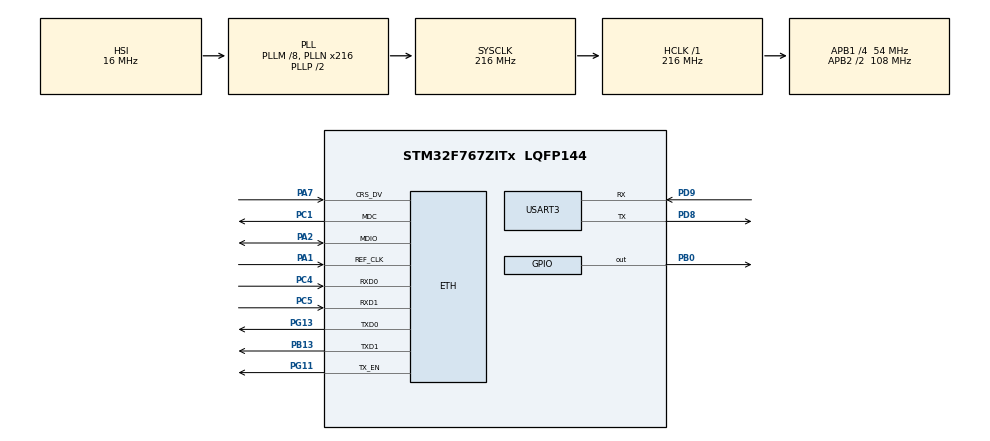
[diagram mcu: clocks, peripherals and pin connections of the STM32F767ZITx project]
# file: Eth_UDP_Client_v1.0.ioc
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CORTEX_M7.CPU_DCache=Disabled
CORTEX_M7.CPU_ICache=Disabled
CORTEX_M7.MPU_Control=__NULL
CORTEX_M7.PREFETCH_ENABLE=0
ETH.MACAddr=00\:80\:E1\:00\:00\:01
ETH.MediaInterface=HAL_ETH_RMII_MODE
ETH.PhyAddress=0
FREERTOS.INCLUDE_vTaskDelayUntil=1
FREERTOS.Tasks01=defaultTask,0,128,StartDefaultTask,Default,NULL,Dynamic,NULL,NULL
FREERTOS.configMAX_TASK_NAME_LEN=31
FREERTOS.configUSE_IDLE_HOOK=1
FREERTOS.configUSE_TIMERS=1
LWIP.GATEWAY_ADDRESS=169.254.081.001
LWIP.IP_ADDRESS=169.254.081.206
LWIP.LWIP_DHCP=0
LWIP.LWIP_ICMP=1
LWIP.LWIP_TCP=0
LWIP.LWIP_UDP=1
LWIP.MEM_SIZE=10*1024
LWIP.NETMASK_ADDRESS=255.255.255.000
LWIP.Version=v2.1.2_Cube
Mcu.Family=STM32F7
Mcu.Name=STM32F767ZITx
Mcu.Package=LQFP144
NVIC.ETH_IRQn=true\:5\:0\:true\:false\:true\:false\:true\:true\:true
NVIC.ETH_WKUP_IRQn=true\:5\:0\:true\:false\:true\:false\:true\:true\:true
NVIC.PriorityGroup=NVIC_PRIORITYGROUP_4
NVIC.TIM1_UP_TIM10_IRQn=true\:0\:0\:false\:false\:true\:false\:false\:true\:true
NVIC.TimeBase=TIM1_UP_TIM10_IRQn
NVIC.TimeBaseIP=TIM10
PA1.Mode=RMII
PA1.Signal=ETH_REF_CLK
PA13.Mode=Serial_Wire
PA13.Signal=SYS_JTMS-SWDIO
PA14.Mode=Serial_Wire
PA14.Signal=SYS_JTCK-SWCLK
PA2.Mode=RMII
PA2.Signal=ETH_MDIO
PA7.Mode=RMII
PA7.Signal=ETH_CRS_DV
PB0.Signal=GPIO_Output
PB13.Mode=RMII
PB13.Signal=ETH_TXD1
PC1.Mode=RMII
PC1.Signal=ETH_MDC
PC4.Mode=RMII
PC4.Signal=ETH_RXD0
PC5.Mode=RMII
PC5.Signal=ETH_RXD1
PD8.Mode=Asynchronous
PD8.Signal=USART3_TX
PD9.Mode=Asynchronous
PD9.Signal=USART3_RX
PG11.Mode=RMII
PG11.Signal=ETH_TX_EN
PG13.Mode=RMII
PG13.Signal=ETH_TXD0
ProjectManager.HeapSize=0x200
ProjectManager.StackSize=0x400
ProjectManager.TargetToolchain=CMake
RCC.48MHZClocksFreq_Value=24000000
RCC.AHBFreq_Value=216000000
RCC.APB1CLKDivider=RCC_HCLK_DIV4
RCC.APB1Freq_Value=54000000
RCC.APB1TimFreq_Value=108000000
RCC.APB2CLKDivider=RCC_HCLK_DIV2
RCC.APB2Freq_Value=108000000
RCC.APB2TimFreq_Value=216000000
RCC.CortexFreq_Value=216000000
RCC.HCLKFreq_Value=216000000
RCC.HSE_VALUE=8000000
RCC.HSI_VALUE=16000000
RCC.LSE_VALUE=32768
RCC.PLLM=8
RCC.PLLMUL=RCC_PLL_MUL9
RCC.PLLN=216
RCC.PRESCALERUSB=RCC_USBCLKSOURCE_PLL_DIV1_5
RCC.SYSCLKFreq_VALUE=216000000
RCC.SYSCLKSource=RCC_SYSCLKSOURCE_PLLCLK
RCC.SYSCLKSourceVirtual=RCC_SYSCLKSOURCE_PLLCLK
RCC.USBFreq_Value=216000000
RCC.VCOOutputFreq_Value=432000000
USART3.VirtualMode-Asynchronous=VM_ASYNC
VP_FREERTOS_VS_CMSIS_V1.Mode=CMSIS_V1
VP_LWIP_VS_Enabled.Mode=Enabled
VP_SYS_VS_tim10.Mode=TIM10
board=NUCLEO-F767ZI

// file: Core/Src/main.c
/* USER CODE BEGIN Header */
/**
  *******************************************************************************
  * @file           : main.c													*
  * @brief          : A UDP-Server Project										*
  *******************************************************************************
  * @author			: Jabed-Akhtar (GitHub)										*
  * @date			: 30.10.2022												*
  *******************************************************************************
  * @attention																	*
  * 	-> Tag: WORKING :)														*
  *																				*
  * Imp note:																	*
  * 	- comment out #include "cmsis_os.h" , as it is not used					*
  * 	- comment or remote by-default created task related stuffs				*
  *																				*
  * Description:																*
  * 	- This project sends Hello msg to Client, when Client sends any msg.	*
  * 	- MCU-Board IP Address: 192.168.178.204	(See MX_LWIP_Init(); )			*
  * 	- LED for Info: PB0 (Green LED) toggles after sending out msg to Client *
  * 	- UDP-Server programming is done in task_TCPServer						*
  *		- UDP-Server Programming steps:											*
  *			|- 1. Create UDP Socket												*
  *			|- 2. Bind Socket to the Server Address							    *
  *			|- Rx <-> Tx | recvfrom() <-> sendto()								*
  *			|- 3. Close the Socket											    *
  *	    																		*
  *******************************************************************************
  */
/* USER CODE END Header */
#include "main.h"
//#include "cmsis_os.h"
#include "lwip.h"

/* USER CODE BEGIN Includes */
#include <stdbool.h>
#include <string.h>
#include <stdio.h>
#include "FreeRTOS.h"
#include "task.h"
#include "queue.h"
#include "semphr.h"
#include "timers.h"
#include "lwip/api.h"
#include "lwip/sockets.h"
#include "lwip/inet.h"
/* USER CODE END Includes */

/* USER CODE BEGIN PD */
#define SERVADDR "169.254.181.186" //"169.254.81.179" n // Address of the Server to connect this Client to.
#define SERV_PORT 2414			// Server port this Client will be connected to.
#define MAXBUFFLEN 100			// Maximum string length
/* USER CODE END PD */

UART_HandleTypeDef huart3;

//osThreadId defaultTaskHandle;

void SystemClock_Config(void);
static void MX_GPIO_Init(void);
static void MX_USART3_UART_Init(void);
//void StartDefaultTask(void const * argument);

/* USER CODE BEGIN PFP */
void vAplicationIdleHook(void);					// Task > Idle Hook
void task_UDPClient(void *pvParameters);		// Task for this UDP-Server
/* USER CODE END PFP */

int main(void)
{

  /* MCU Configuration--------------------------------------------------------*/

  /* Reset of all peripherals, Initializes the Flash interface and the Systick. */
  HAL_Init();

  /* Configure the system clock */
  SystemClock_Config();

  /* Initialize all configured peripherals */
  MX_GPIO_Init();
  MX_USART3_UART_Init();
  /* USER CODE BEGIN 2 */

  // Initialize LWIP
  MX_LWIP_Init();

  char stri[] = "\n---------- Programm started!!! ----------\n\n\r";
  HAL_UART_Transmit(&huart3, (uint8_t*)stri, strlen(stri), HAL_MAX_DELAY);

  /* USER CODE END 2 */

  /* Create the thread(s) */
  /* definition and creation of defaultTask */
//  osThreadDef(defaultTask, StartDefaultTask, osPriorityNormal, 0, 128);
//  defaultTaskHandle = osThreadCreate(osThread(defaultTask), NULL);

  /* USER CODE BEGIN RTOS_THREADS */
  /* add threads, ... */
  xTaskCreate(task_UDPClient, "task_UDPClient", configMINIMAL_STACK_SIZE*4, NULL, 4, NULL);	// Thread/Task for UDP Client

  /***** Starting Scheduler *****/
  vTaskStartScheduler();

  /* USER CODE END RTOS_THREADS */

  /* Start scheduler */
//  osKernelStart();

  /* We should never get here as control is now taken by the scheduler */

  /* Infinite loop */
  while (1)
  {

  }
}

void SystemClock_Config(void)
{
  RCC_OscInitTypeDef RCC_OscInitStruct = {0};
  RCC_ClkInitTypeDef RCC_ClkInitStruct = {0};

  /** Configure the main internal regulator output voltage
  */
  __HAL_RCC_PWR_CLK_ENABLE();
  __HAL_PWR_VOLTAGESCALING_CONFIG(PWR_REGULATOR_VOLTAGE_SCALE1);

  /** Initializes the RCC Oscillators according to the specified parameters
  * in the RCC_OscInitTypeDef structure.
  */
  RCC_OscInitStruct.OscillatorType = RCC_OSCILLATORTYPE_HSI;
  RCC_OscInitStruct.HSIState = RCC_HSI_ON;
  RCC_OscInitStruct.HSICalibrationValue = RCC_HSICALIBRATION_DEFAULT;
  RCC_OscInitStruct.PLL.PLLState = RCC_PLL_ON;
  RCC_OscInitStruct.PLL.PLLSource = RCC_PLLSOURCE_HSI;
  RCC_OscInitStruct.PLL.PLLM = 8;
  RCC_OscInitStruct.PLL.PLLN = 216;
  RCC_OscInitStruct.PLL.PLLP = RCC_PLLP_DIV2;
  RCC_OscInitStruct.PLL.PLLQ = 2;
  RCC_OscInitStruct.PLL.PLLR = 2;
  if (HAL_RCC_OscConfig(&RCC_OscInitStruct) != HAL_OK)
  {
    Error_Handler();
  }

  /** Activate the Over-Drive mode
  */
  if (HAL_PWREx_EnableOverDrive() != HAL_OK)
  {
    Error_Handler();
  }

  /** Initializes the CPU, AHB and APB buses clocks
  */
  RCC_ClkInitStruct.ClockType = RCC_CLOCKTYPE_HCLK|RCC_CLOCKTYPE_SYSCLK
                              |RCC_CLOCKTYPE_PCLK1|RCC_CLOCKTYPE_PCLK2;
  RCC_ClkInitStruct.SYSCLKSource = RCC_SYSCLKSOURCE_PLLCLK;
  RCC_ClkInitStruct.AHBCLKDivider = RCC_SYSCLK_DIV1;
  RCC_ClkInitStruct.APB1CLKDivider = RCC_HCLK_DIV4;
  RCC_ClkInitStruct.APB2CLKDivider = RCC_HCLK_DIV2;

  if (HAL_RCC_ClockConfig(&RCC_ClkInitStruct, FLASH_LATENCY_7) != HAL_OK)
  {
    Error_Handler();
  }
}

static void MX_USART3_UART_Init(void)
{

  huart3.Instance = USART3;
  huart3.Init.BaudRate = 115200;
  huart3.Init.WordLength = UART_WORDLENGTH_8B;
  huart3.Init.StopBits = UART_STOPBITS_1;
  huart3.Init.Parity = UART_PARITY_NONE;
  huart3.Init.Mode = UART_MODE_TX_RX;
  huart3.Init.HwFlowCtl = UART_HWCONTROL_NONE;
  huart3.Init.OverSampling = UART_OVERSAMPLING_16;
  huart3.Init.OneBitSampling = UART_ONE_BIT_SAMPLE_DISABLE;
  huart3.AdvancedInit.AdvFeatureInit = UART_ADVFEATURE_NO_INIT;
  if (HAL_UART_Init(&huart3) != HAL_OK)
  {
    Error_Handler();
  }

}

static void MX_GPIO_Init(void)
{
  GPIO_InitTypeDef GPIO_InitStruct = {0};

  /* GPIO Ports Clock Enable */
  __HAL_RCC_GPIOC_CLK_ENABLE();
  __HAL_RCC_GPIOA_CLK_ENABLE();
  __HAL_RCC_GPIOB_CLK_ENABLE();
  __HAL_RCC_GPIOD_CLK_ENABLE();
  __HAL_RCC_GPIOG_CLK_ENABLE();

  /*Configure GPIO pin Output Level */
  HAL_GPIO_WritePin(GPIOB, GPIO_PIN_0, GPIO_PIN_RESET);

  /*Configure GPIO pin : PB0 */
  GPIO_InitStruct.Pin = GPIO_PIN_0;
  GPIO_InitStruct.Mode = GPIO_MODE_OUTPUT_PP;
  GPIO_InitStruct.Pull = GPIO_NOPULL;
  GPIO_InitStruct.Speed = GPIO_SPEED_FREQ_LOW;
  HAL_GPIO_Init(GPIOB, &GPIO_InitStruct);

}

/* USER CODE BEGIN 4 */

/*
 * -> Idle Hook Task
 */
void vAplicationIdleHook(void){
	__WFI();
}

/*
 * -> Task for UDP Server
 * description:
 * 		- Makes connection with Client
 * 		- Wait for msg from the Client
 * 		- Sends Hello msg to Client on receiving any msg from the Client
 */
void task_UDPClient(void *pvParameters)
{
	/* --- Variables -----------------------------------------------------------*/
	int					sockfd;					// Socket for this Client
	int					addr_len;				// Size of sock Addr for recvfrom(...);
	struct sockaddr_in 	servaddr_toConn, cliaddr;		// Struct for the UDP-Server and for this Client
	int					numBytes;				// Number of Bytes sent/received
	char 				buff[MAXBUFFLEN];		// Buffer to save Rx/Tx Data

	/* --- 1. Create UDP Socket ------------------------------------------------*/
	sockfd = socket(AF_INET, SOCK_DGRAM, 0);
	if(sockfd == -1)
	{
		exit(0);
	}

	// Assignments to servaddr
	servaddr_toConn.sin_family = AF_INET;					// Address-Family -> Internet
	servaddr_toConn.sin_addr.s_addr = inet_addr(SERVADDR); 	// Auto-Fill with MCU-Board IP-Address
	servaddr_toConn.sin_port = htons(SERV_PORT);			// The Server port

	/* --- 2. Bind Socket to the Server Address --------------------------------*/
//	int b_ret = bind(sockfd, (struct sockaddr *)&servaddr_toConn, sizeof(struct sockaddr));
//	if(b_ret == -1)
//	{
//		exit(0);
//	}

	/****** Endless-Loop *****/
	while(1)
	{
		// Filling Buffer-Memory with 0 -> Clearing Buffer-Memory
		memset(buff, 0, sizeof(buff));

		/* --- Receiving from Client -------------------------------------------*/
//		addr_len = sizeof(struct sockaddr);
//		numBytes = recvfrom(sockfd, buff, MAXBUFFLEN, 0, (struct sockaddr *)&servaddr_toConn, &addr_len);
//		if(numBytes==-1)
//		{
//			exit(1);
//		}

		/* --- Sending to Client -----------------------------------------------*/
		int n = sendto(sockfd, "Hello from Client!\n", 20, 0, (struct sockaddr *)&servaddr_toConn, sizeof(struct sockaddr));
		if(n == -1)
		{
			HAL_GPIO_TogglePin(GPIOB, GPIO_PIN_0);
		}

		// Toggle Green LED after sending out msg to the Client
		HAL_GPIO_TogglePin(GPIOB, GPIO_PIN_0);

		HAL_Delay(1000);

		/* --- 3. Close the Socket ---------------------------------------------*/
//		close(sockfd); 	/* Close socket at the end of programm. !Here it could not be a good idea, */
						/* as here the socket will be closed after sending msg to Client once :(   */
	}
}

/* USER CODE END 4 */

//void StartDefaultTask(void const * argument)
//{
//  /* init code for LWIP */
//  MX_LWIP_Init();
//  /* USER CODE BEGIN 5 */
//  /* Infinite loop */
//  for(;;)
//  {
//    osDelay(1);
//  }
//  /* USER CODE END 5 */
//}

void HAL_TIM_PeriodElapsedCallback(TIM_HandleTypeDef *htim)
{
  if (htim->Instance == TIM10) {
    HAL_IncTick();
  }
}

void Error_Handler(void)
{
}

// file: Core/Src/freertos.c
/* USER CODE BEGIN Header */
/**
  ******************************************************************************
  * File Name          : freertos.c
  * Description        : Code for freertos applications
  ******************************************************************************
  * @attention
  *
  * <h2><center>&copy; Copyright (c) 2022 STMicroelectronics.
  * All rights reserved.</center></h2>
  *
  * This software component is licensed by ST under Ultimate Liberty license
  * SLA0044, the "License"; You may not use this file except in compliance with
  * the License. You may obtain a copy of the License at:
  *                             www.st.com/SLA0044
  *
  ******************************************************************************
  */
/* USER CODE END Header */

#include "FreeRTOS.h"
#include "task.h"
#include "main.h"

/* GetIdleTaskMemory prototype (linked to static allocation support) */
void vApplicationGetIdleTaskMemory( StaticTask_t **ppxIdleTaskTCBBuffer, StackType_t **ppxIdleTaskStackBuffer, uint32_t *pulIdleTaskStackSize );

/* GetTimerTaskMemory prototype (linked to static allocation support) */
void vApplicationGetTimerTaskMemory( StaticTask_t **ppxTimerTaskTCBBuffer, StackType_t **ppxTimerTaskStackBuffer, uint32_t *pulTimerTaskStackSize );

/* Hook prototypes */
void vApplicationIdleHook(void);

/* USER CODE BEGIN 2 */
__weak void vApplicationIdleHook( void )
{
   /* vApplicationIdleHook() will only be called if configUSE_IDLE_HOOK is set
   to 1 in FreeRTOSConfig.h. It will be called on each iteration of the idle
   task. It is essential that code added to this hook function never attempts
   to block in any way (for example, call xQueueReceive() with a block time
   specified, or call vTaskDelay()). If the application makes use of the
   vTaskDelete() API function (as this demo application does) then it is also
   important that vApplicationIdleHook() is permitted to return to its calling
   function, because it is the responsibility of the idle task to clean up
   memory allocated by the kernel to any task that has since been deleted. */
}
/* USER CODE END 2 */

/* USER CODE BEGIN GET_IDLE_TASK_MEMORY */
static StaticTask_t xIdleTaskTCBBuffer;
static StackType_t xIdleStack[configMINIMAL_STACK_SIZE];

void vApplicationGetIdleTaskMemory( StaticTask_t **ppxIdleTaskTCBBuffer, StackType_t **ppxIdleTaskStackBuffer, uint32_t *pulIdleTaskStackSize )
{
  *ppxIdleTaskTCBBuffer = &xIdleTaskTCBBuffer;
  *ppxIdleTaskStackBuffer = &xIdleStack[0];
  *pulIdleTaskStackSize = configMINIMAL_STACK_SIZE;
  /* place for user code */
}
/* USER CODE END GET_IDLE_TASK_MEMORY */

/* USER CODE BEGIN GET_TIMER_TASK_MEMORY */
static StaticTask_t xTimerTaskTCBBuffer;
static StackType_t xTimerStack[configTIMER_TASK_STACK_DEPTH];

void vApplicationGetTimerTaskMemory( StaticTask_t **ppxTimerTaskTCBBuffer, StackType_t **ppxTimerTaskStackBuffer, uint32_t *pulTimerTaskStackSize )
{
  *ppxTimerTaskTCBBuffer = &xTimerTaskTCBBuffer;
  *ppxTimerTaskStackBuffer = &xTimerStack[0];
  *pulTimerTaskStackSize = configTIMER_TASK_STACK_DEPTH;
  /* place for user code */
}
/* USER CODE END GET_TIMER_TASK_MEMORY */
